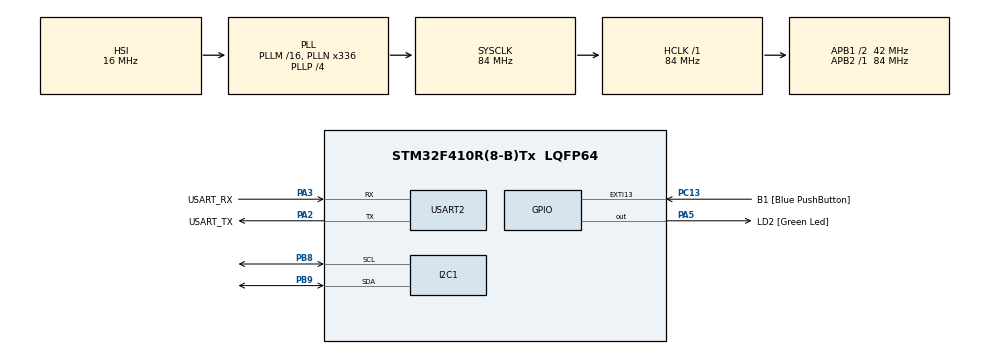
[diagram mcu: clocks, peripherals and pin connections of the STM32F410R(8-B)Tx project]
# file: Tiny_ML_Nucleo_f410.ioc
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EdgeImpulse.Impulse_classification.1.0.1.MachineLearningCcImpulseIiclassificationJjCore=true
Mcu.Family=STM32F4
Mcu.Name=STM32F410R(8-B)Tx
Mcu.Package=LQFP64
NVIC.PriorityGroup=NVIC_PRIORITYGROUP_0
PA13.GPIO_Label=TMS
PA13.Mode=Serial_Wire
PA13.Signal=SYS_JTMS-SWDIO
PA14.GPIO_Label=TCK
PA14.Mode=Serial_Wire
PA14.Signal=SYS_JTCK-SWCLK
PA2.GPIO_Label=USART_TX
PA2.Mode=Asynchronous
PA2.Signal=USART2_TX
PA3.GPIO_Label=USART_RX
PA3.Mode=Asynchronous
PA3.Signal=USART2_RX
PA5.GPIO_Label=LD2 [Green Led]
PA5.Signal=GPIO_Output
PB3.GPIO_Label=SWO
PB3.Signal=SYS_JTDO-SWO
PB8.Mode=I2C
PB8.Signal=I2C1_SCL
PB9.Mode=I2C
PB9.Signal=I2C1_SDA
PC13-ANTI_TAMP.GPIO_Label=B1 [Blue PushButton]
PC13-ANTI_TAMP.GPIO_ModeDefaultEXTI=GPIO_MODE_IT_FALLING
PC13-ANTI_TAMP.Signal=GPXTI13
PC14-OSC32_IN.Mode=LSE-External-Oscillator
PC14-OSC32_IN.Signal=RCC_OSC32_IN
PC15-OSC32_OUT.Mode=LSE-External-Oscillator
PC15-OSC32_OUT.Signal=RCC_OSC32_OUT
PH0\ -\ OSC_IN.Mode=HSE-External-Clock-Source
PH0\ -\ OSC_IN.Signal=RCC_OSC_IN
PH1\ -\ OSC_OUT.Mode=HSE-External-Clock-Source
PH1\ -\ OSC_OUT.Signal=RCC_OSC_OUT
ProjectManager.HeapSize=0x200
ProjectManager.StackSize=0x400
ProjectManager.TargetToolchain=STM32CubeIDE
RCC.48MHZClocksFreq_Value=84000000
RCC.AHBFreq_Value=84000000
RCC.APB1CLKDivider=RCC_HCLK_DIV2
RCC.APB1Freq_Value=42000000
RCC.APB1TimFreq_Value=84000000
RCC.APB2Freq_Value=84000000
RCC.APB2TimFreq_Value=84000000
RCC.CortexFreq_Value=84000000
RCC.FLatency-AdvancedSettings=FLASH_LATENCY_2
RCC.HCLKFreq_Value=84000000
RCC.HSE_VALUE=8000000
RCC.HSI_VALUE=16000000
RCC.PLLN=336
RCC.PLLP=RCC_PLLP_DIV4
RCC.SYSCLKFreq_VALUE=84000000
RCC.SYSCLKSource=RCC_SYSCLKSOURCE_PLLCLK
RCC.VCOOutputFreq_Value=336000000
USART2.VirtualMode=VM_ASYNC
VP_CRC_VS_CRC.Mode=CRC_Activate
VP_EdgeImpulse.Impulse_classification_VS_ImpulseIiclassificationJjMachineLearning_1.0.1_1.0.1.Mode=ImpulseIiclassificationJjMachineLearning
board=NUCLEO-F410RB

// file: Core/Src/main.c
/* USER CODE BEGIN Header */
/**
  ******************************************************************************
  * @file           : main.c
  * @brief          : Main program body
  ******************************************************************************
  * @attention
  *
  * Copyright (c) 2025 STMicroelectronics.
  * All rights reserved.
  *
  * This software is licensed under terms that can be found in the LICENSE file
  * in the root directory of this software component.
  * If no LICENSE file comes with this software, it is provided AS-IS.
  *
  ******************************************************************************
  */
/* USER CODE END Header */
#include "main.h"
#include "i2c.h"
#include "usart.h"
#include "gpio.h"

/* USER CODE BEGIN Includes */
#include <stdio.h>
#include <math.h>
/* USER CODE END Includes */

void SystemClock_Config(void);

/* USER CODE BEGIN 0 */
#define MPU6050_ADDR 0x68 << 1
#define CONVERT_G_TO_MS2 9.80665f

void MPU6050_Init(void) {
    uint8_t check, data;
    HAL_I2C_Mem_Read(&hi2c1, MPU6050_ADDR, 0x75, 1, &check, 1, 100);
    if (check == 0x68) {
        data = 0;
        HAL_I2C_Mem_Write(&hi2c1, MPU6050_ADDR, 0x6B, 1, &data, 1, 100);  // Wake up
    }
}

void MPU6050_Read_Accel(float *ax, float *ay, float *az) {
    uint8_t rec[6];
    int16_t raw_x, raw_y, raw_z;

    HAL_I2C_Mem_Read(&hi2c1, MPU6050_ADDR, 0x3B, 1, rec, 6, 100);
    raw_x = (int16_t)(rec[0] << 8 | rec[1]);
    raw_y = (int16_t)(rec[2] << 8 | rec[3]);
    raw_z = (int16_t)(rec[4] << 8 | rec[5]);

    *ax = ((float)raw_x / 16384.0f) * CONVERT_G_TO_MS2;
    *ay = ((float)raw_y / 16384.0f) * CONVERT_G_TO_MS2;
    *az = ((float)raw_z / 16384.0f) * CONVERT_G_TO_MS2;
}

int __io_putchar(int ch) {
    HAL_UART_Transmit(&huart2, (uint8_t *)&ch, 1, HAL_MAX_DELAY);
    return ch;
}
/* USER CODE END 0 */

int main(void)
{

  /* MCU Configuration--------------------------------------------------------*/

  /* Reset of all peripherals, Initializes the Flash interface and the Systick. */
  HAL_Init();

  /* Configure the system clock */
  SystemClock_Config();

  /* Initialize all configured peripherals */
  MX_GPIO_Init();
  MX_I2C1_Init();
  MX_USART2_UART_Init();
  /* USER CODE BEGIN 2 */
  MPU6050_Init();
  printf("Started\r\n");
  float ax, ay, az;
  uint32_t t0 = HAL_GetTick();
  /* USER CODE END 2 */

  /* Infinite loop */
  /* USER CODE BEGIN WHILE */
  while (1)
  {
      if (HAL_GetTick() - t0 >= 20) {  // ~50Hz
          t0 = HAL_GetTick();
          MPU6050_Read_Accel(&ax, &ay, &az);
          printf("%.2f,%.2f,%.2f\r\n", ax, ay, az);  // Формат для data-forwarder
      }
    /* USER CODE END WHILE */

  }
}

void SystemClock_Config(void)
{
  RCC_OscInitTypeDef RCC_OscInitStruct = {0};
  RCC_ClkInitTypeDef RCC_ClkInitStruct = {0};

  /** Configure the main internal regulator output voltage
  */
  __HAL_RCC_PWR_CLK_ENABLE();
  __HAL_PWR_VOLTAGESCALING_CONFIG(PWR_REGULATOR_VOLTAGE_SCALE1);

  /** Initializes the RCC Oscillators according to the specified parameters
  * in the RCC_OscInitTypeDef structure.
  */
  RCC_OscInitStruct.OscillatorType = RCC_OSCILLATORTYPE_HSI;
  RCC_OscInitStruct.HSIState = RCC_HSI_ON;
  RCC_OscInitStruct.HSICalibrationValue = RCC_HSICALIBRATION_DEFAULT;
  RCC_OscInitStruct.PLL.PLLState = RCC_PLL_ON;
  RCC_OscInitStruct.PLL.PLLSource = RCC_PLLSOURCE_HSI;
  RCC_OscInitStruct.PLL.PLLM = 16;
  RCC_OscInitStruct.PLL.PLLN = 336;
  RCC_OscInitStruct.PLL.PLLP = RCC_PLLP_DIV4;
  RCC_OscInitStruct.PLL.PLLQ = 4;
  RCC_OscInitStruct.PLL.PLLR = 2;
  if (HAL_RCC_OscConfig(&RCC_OscInitStruct) != HAL_OK)
  {
    Error_Handler();
  }

  /** Initializes the CPU, AHB and APB buses clocks
  */
  RCC_ClkInitStruct.ClockType = RCC_CLOCKTYPE_HCLK|RCC_CLOCKTYPE_SYSCLK
                              |RCC_CLOCKTYPE_PCLK1|RCC_CLOCKTYPE_PCLK2;
  RCC_ClkInitStruct.SYSCLKSource = RCC_SYSCLKSOURCE_PLLCLK;
  RCC_ClkInitStruct.AHBCLKDivider = RCC_SYSCLK_DIV1;
  RCC_ClkInitStruct.APB1CLKDivider = RCC_HCLK_DIV2;
  RCC_ClkInitStruct.APB2CLKDivider = RCC_HCLK_DIV1;

  if (HAL_RCC_ClockConfig(&RCC_ClkInitStruct, FLASH_LATENCY_2) != HAL_OK)
  {
    Error_Handler();
  }
}

void Error_Handler(void)
{
  __disable_irq();
  while (1)
  {
  }
}
